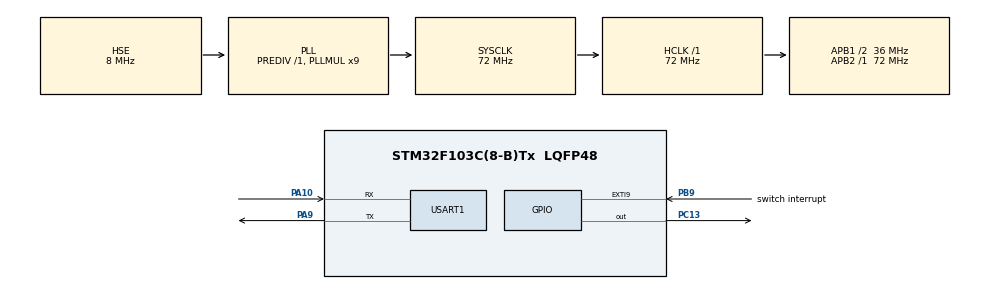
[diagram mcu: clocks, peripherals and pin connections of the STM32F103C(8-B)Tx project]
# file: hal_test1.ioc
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Mcu.Family=STM32F1
Mcu.Name=STM32F103C(8-B)Tx
Mcu.Package=LQFP48
NVIC.EXTI9_5_IRQn=true\:0\:0\:false\:false\:true\:true\:true\:true
NVIC.PriorityGroup=NVIC_PRIORITYGROUP_4
NVIC.RTC_Alarm_IRQn=true\:0\:0\:false\:false\:true\:true\:true\:true
NVIC.USART1_IRQn=true\:0\:0\:false\:false\:true\:true\:true\:true
PA10.Mode=Asynchronous
PA10.Signal=USART1_RX
PA13.Mode=Serial_Wire
PA13.Signal=SYS_JTMS-SWDIO
PA14.Mode=Serial_Wire
PA14.Signal=SYS_JTCK-SWCLK
PA9.Mode=Asynchronous
PA9.Signal=USART1_TX
PB9.GPIO_Label=switch interrupt
PB9.GPIO_PuPd=GPIO_NOPULL
PB9.Signal=GPXTI9
PC13-TAMPER-RTC.Signal=GPIO_Output
PC14-OSC32_IN.Mode=LSE-External-Oscillator
PC14-OSC32_IN.Signal=RCC_OSC32_IN
PC15-OSC32_OUT.Mode=LSE-External-Oscillator
PC15-OSC32_OUT.Signal=RCC_OSC32_OUT
PD0-OSC_IN.Mode=HSE-External-Oscillator
PD0-OSC_IN.Signal=RCC_OSC_IN
PD1-OSC_OUT.Mode=HSE-External-Oscillator
PD1-OSC_OUT.Signal=RCC_OSC_OUT
ProjectManager.HeapSize=0x200
ProjectManager.StackSize=0x400
ProjectManager.TargetToolchain=MDK-ARM V5.32
RCC.AHBFreq_Value=72000000
RCC.APB1CLKDivider=RCC_HCLK_DIV2
RCC.APB1Freq_Value=36000000
RCC.APB1TimFreq_Value=72000000
RCC.APB2Freq_Value=72000000
RCC.APB2TimFreq_Value=72000000
RCC.HCLKFreq_Value=72000000
RCC.PLLMUL=RCC_PLL_MUL9
RCC.PLLSourceVirtual=RCC_PLLSOURCE_HSE
RCC.RTCClockSelection=RCC_RTCCLKSOURCE_LSE
RCC.SYSCLKFreq_VALUE=72000000
RCC.SYSCLKSource=RCC_SYSCLKSOURCE_PLLCLK
RCC.USBFreq_Value=72000000
RTC.Date=3
RTC.Hours=9
RTC.Minutes=40
RTC.Month=RTC_MONTH_FEBRUARY
RTC.Year=20
USART1.VirtualMode=VM_ASYNC
VP_RTC_VS_RTC_Activate.Mode=RTC_Enabled
VP_RTC_VS_RTC_Calendar.Mode=RTC_Calendar
board=custom

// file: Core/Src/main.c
/* USER CODE BEGIN Header */
/**
  ******************************************************************************
  * @file           : main.c
  * @brief          : Main program body
  ******************************************************************************
  * @attention
  *
  * Copyright (c) 2024 STMicroelectronics.
  * All rights reserved.
  *
  * This software is licensed under terms that can be found in the LICENSE file
  * in the root directory of this software component.
  * If no LICENSE file comes with this software, it is provided AS-IS.
  *
  ******************************************************************************
  */
/* USER CODE END Header */
#include "main.h"
#include "rtc.h"
#include "usart.h"
#include "gpio.h"

/* USER CODE BEGIN Includes */
#include <string.h>

/* USER CODE END Includes */

/* USER CODE BEGIN PTD */
enum LowPower
{
	SLEEP=1,STOP,STANDBY //定义三种模式：睡眠，停止，待机
};
RTC_AlarmTypeDef aTime;
RTC_TimeTypeDef nTime;
extern RTC_HandleTypeDef hrtc;
RTC_TimeTypeDef GetTime;   //获取时间结构体
RTC_DateTypeDef GetData;  //获取日期结构体
/* USER CODE END PTD */

/* USER CODE BEGIN PD */
#define RXBUFFERSIZE  256     //最大接收字节数
#define  LED_ON  HAL_GPIO_WritePin(GPIOC, GPIO_PIN_13, GPIO_PIN_RESET)
#define  LED_OFF  HAL_GPIO_WritePin(GPIOC, GPIO_PIN_13, GPIO_PIN_SET)
#define  PowerTime 90
/* USER CODE END PD */

/* USER CODE BEGIN PM */
char RxBuffer[RXBUFFERSIZE];   //接收数据
uint8_t aRxBuffer;			//接收中断缓冲
uint8_t Uart1_Rx_Cnt = 0;		//接收缓冲计数
/* USER CODE END PM */

void SystemClock_Config(void);
void HAL_UART_RxCpltCallback(UART_HandleTypeDef *huart);

int main(void)
{

  /* MCU Configuration--------------------------------------------------------*/

  /* Reset of all peripherals, Initializes the Flash interface and the Systick. */
  HAL_Init();

  /* Configure the system clock */
  SystemClock_Config();

  /* Initialize all configured peripherals */
  MX_GPIO_Init();
  MX_USART1_UART_Init();
  MX_RTC_Init();
  /* USER CODE BEGIN 2 */
	HAL_UART_Receive_IT(&huart1, (uint8_t *)&aRxBuffer, 1);
	enum LowPower mode;

	aTime.Alarm = 0;
	aTime.AlarmTime.Hours = 9;
	aTime.AlarmTime.Minutes = 41;
	aTime.AlarmTime.Seconds = 0;
	HAL_RTC_SetAlarm_IT(&hrtc,&aTime,RTC_FORMAT_BIN);

  /* USER CODE END 2 */

  /* Infinite loop */
  while (1)
  {

    /* USER CODE BEGIN 3 */
		//mode=SLEEP;  //选择睡眠模式
	   mode=STOP;  //选择停止模式
	  //mode=STANDBY;  //选择待机模式

	  LED_ON;
		HAL_Delay(500);

		switch(mode)
		{
			case SLEEP:
							printf("进入睡眠模式\r\n");
							HAL_Delay(500);
							HAL_SuspendTick();	//停止系统滴答计时器
							HAL_PWR_EnterSLEEPMode(PWR_LOWPOWERREGULATOR_ON,PWR_SLEEPENTRY_WFI);  //进入睡眠模式
							HAL_ResumeTick();        //释放滴答定时器
				      HAL_Delay(500);  //等待滴答定时器释放
							printf("退出睡眠模式\r\n");
							break;

			case STOP:
							printf("进入停止模式\r\n");
							HAL_Delay(500);
							HAL_PWR_EnterSTOPMode(PWR_LOWPOWERREGULATOR_ON,PWR_SLEEPENTRY_WFI);//进入停止模式
							SystemClock_Config();     //重新配置时钟
				      HAL_Delay(500);
							printf("退出停止模式\r\n");
							/* Get the RTC current Time */
							HAL_RTC_GetTime(&hrtc, &GetTime, RTC_FORMAT_BIN);
							/* Get the RTC current Date */
							HAL_RTC_GetDate(&hrtc, &GetData, RTC_FORMAT_BIN);
							/* Display date Format : yy/mm/dd */
							printf("%02d/%02d/%02d\r\n",2000 + GetData.Year, GetData.Month, GetData.Date);
							/* Display time Format : hh:mm:ss */
							printf("%02d:%02d:%02d\r\n",GetTime.Hours, GetTime.Minutes, GetTime.Seconds);
							printf("\r\n");
							break;

			case STANDBY:
							printf("进入待机模式\r\n");
							HAL_Delay(500);
							HAL_SuspendTick();	//停止系统滴答计时器
							HAL_PWR_EnableWakeUpPin(PWR_WAKEUP_PIN1);  //配置唤醒引脚 PA0
							HAL_PWR_EnterSTANDBYMode();//进入待机模式
							//退出待机模式程序会重新开始执行，所有后面没代码
							break;
			default:
				break;

		}
		LED_OFF;
		HAL_Delay(500);

  }
  /* USER CODE END 3 */
}

void SystemClock_Config(void)
{
  RCC_OscInitTypeDef RCC_OscInitStruct = {0};
  RCC_ClkInitTypeDef RCC_ClkInitStruct = {0};
  RCC_PeriphCLKInitTypeDef PeriphClkInit = {0};

  /** Initializes the RCC Oscillators according to the specified parameters
  * in the RCC_OscInitTypeDef structure.
  */
  RCC_OscInitStruct.OscillatorType = RCC_OSCILLATORTYPE_HSE|RCC_OSCILLATORTYPE_LSE;
  RCC_OscInitStruct.HSEState = RCC_HSE_ON;
  RCC_OscInitStruct.HSEPredivValue = RCC_HSE_PREDIV_DIV1;
  RCC_OscInitStruct.LSEState = RCC_LSE_ON;
  RCC_OscInitStruct.HSIState = RCC_HSI_ON;
  RCC_OscInitStruct.PLL.PLLState = RCC_PLL_ON;
  RCC_OscInitStruct.PLL.PLLSource = RCC_PLLSOURCE_HSE;
  RCC_OscInitStruct.PLL.PLLMUL = RCC_PLL_MUL9;
  if (HAL_RCC_OscConfig(&RCC_OscInitStruct) != HAL_OK)
  {
    Error_Handler();
  }

  /** Initializes the CPU, AHB and APB buses clocks
  */
  RCC_ClkInitStruct.ClockType = RCC_CLOCKTYPE_HCLK|RCC_CLOCKTYPE_SYSCLK
                              |RCC_CLOCKTYPE_PCLK1|RCC_CLOCKTYPE_PCLK2;
  RCC_ClkInitStruct.SYSCLKSource = RCC_SYSCLKSOURCE_PLLCLK;
  RCC_ClkInitStruct.AHBCLKDivider = RCC_SYSCLK_DIV1;
  RCC_ClkInitStruct.APB1CLKDivider = RCC_HCLK_DIV2;
  RCC_ClkInitStruct.APB2CLKDivider = RCC_HCLK_DIV1;

  if (HAL_RCC_ClockConfig(&RCC_ClkInitStruct, FLASH_LATENCY_2) != HAL_OK)
  {
    Error_Handler();
  }
  PeriphClkInit.PeriphClockSelection = RCC_PERIPHCLK_RTC;
  PeriphClkInit.RTCClockSelection = RCC_RTCCLKSOURCE_LSE;
  if (HAL_RCCEx_PeriphCLKConfig(&PeriphClkInit) != HAL_OK)
  {
    Error_Handler();
  }
}

//回调函数
void HAL_RTC_AlarmAEventCallback(RTC_HandleTypeDef *nhrtc) //句柄需要取新名避免与hrtc冲突
{
  //HAL_RTC_GetTime(nhrtc,&nTime,RTC_FORMAT_BIN);
 // printf("Alarm--%d:%d:%d\r\n",nTime.Hours,nTime.Minutes,nTime.Seconds);

//以下的设置是实现每间隔1分钟响应一次中断--------------------
	int a=PowerTime+aTime.AlarmTime.Seconds;
	while(a>=60)
	{
		aTime.AlarmTime.Minutes+=1;
		a-=60;
		 if(aTime.AlarmTime.Minutes==60)
    {
      aTime.AlarmTime.Hours += 1;
	  if(aTime.AlarmTime.Hours == 24)
	    {
	      aTime.AlarmTime.Hours = 0;
	    }
      aTime.AlarmTime.Minutes=0;
    }
	}
	aTime.AlarmTime.Seconds=a%60;

  HAL_RTC_SetAlarm_IT(&hrtc,&aTime,RTC_FORMAT_BIN);
//---------
	}

/* USER CODE BEGIN 4 */

void HAL_UART_RxCpltCallback(UART_HandleTypeDef *huart)
{
  /* Prevent unused argument(s) compilation warning */
  UNUSED(huart);
  /* NOTE: This function Should not be modified, when the callback is needed,
           the HAL_UART_TxCpltCallback could be implemented in the user file
   */

	if(Uart1_Rx_Cnt >= 255)  //溢出判断
	{
		Uart1_Rx_Cnt = 0;
		memset(RxBuffer,0x00,sizeof(RxBuffer));
		HAL_UART_Transmit(&huart1, (uint8_t *)"数据溢出", 10,0xFFFF);

	}
	else
	{
		RxBuffer[Uart1_Rx_Cnt++] = aRxBuffer;   //接收数据转存

		if((RxBuffer[Uart1_Rx_Cnt-1] == 0x0A)&&(RxBuffer[Uart1_Rx_Cnt-2] == 0x0D)) //判断结束位
		{
			HAL_UART_Transmit(&huart1, (uint8_t *)&RxBuffer, Uart1_Rx_Cnt,0xFFFF); //将收到的信息发送出去
            while(HAL_UART_GetState(&huart1) == HAL_UART_STATE_BUSY_TX);//检测UART发送结束
			Uart1_Rx_Cnt = 0;
			memset(RxBuffer,0x00,sizeof(RxBuffer)); //清空数组
		}
	}

	HAL_UART_Receive_IT(&huart1, (uint8_t *)&aRxBuffer, 1);   //再开启接收中断
}

void HAL_GPIO_EXTI_Callback(uint16_t GPIO_Pin)
{
	if( GPIO_Pin == switch_interrupt_Pin)//判断外部中断源
	{
		HAL_GPIO_TogglePin(GPIOA, GPIO_PIN_5);//翻转PA5状态
	}
}

/* USER CODE END 4 */

void Error_Handler(void)
{
  __disable_irq();
  while (1)
  {
  }
}
